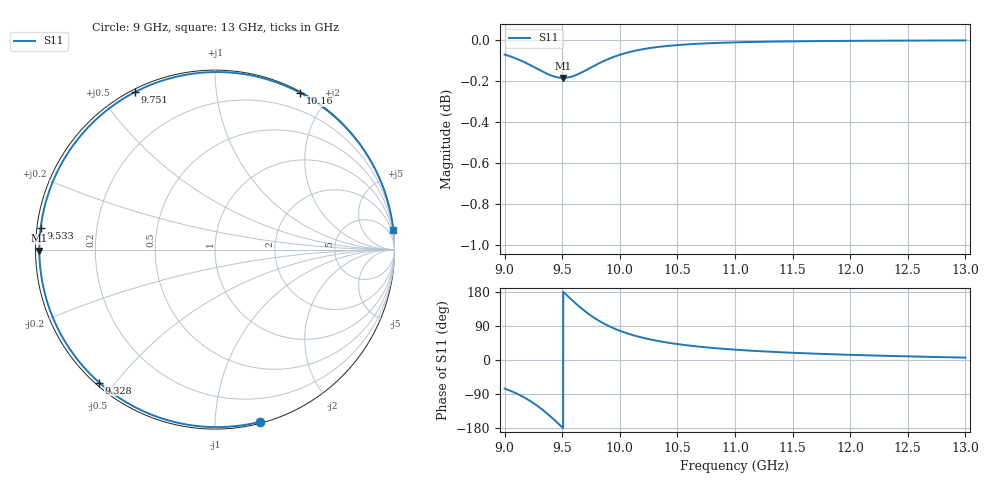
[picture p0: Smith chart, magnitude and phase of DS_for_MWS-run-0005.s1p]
! TOUCHSTONE file generated by CST DESIGN STUDIO
! Date and time: Tue Feb  4 15:48:30 2025
! Project name: C:\Work\MatlabApps\UnitCellOptimizationMatlab\CST\unitcell.cst
! Tree item: Tasks\Sweep1\SPara1\S-Parameters
! Header version: 2024
! Port assignment regex: !\s*Touchstone port\s*([0-9]+)\s*=\s*(CST MWS port|CST DES external port|CST DES block port)\s*(.+)\s* \(\"(.*)\"\)(\s*mode\s*([0-9]+))?.*
! Touchstone port assignment:
! Touchstone port 1 = CST DES external port 1 ("")
# GHz S MA R 50
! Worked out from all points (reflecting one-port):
!   4001 points, 9 GHz to 13 GHz, reference 50 ohm
!   lowest |S11| = -0.2 dB at 9.507 GHz (marker M1), VSWR 93.36, Z = 0.536 - j0.154 ohm
!   phase of S11 starts at -75 deg and turns -278 deg over the sweep
!   S11 on the Smith chart (normalised r, x): 9 GHz: 0.01, -1.30; 9.328 GHz: 0.01, -0.46; 9.533 GHz: 0.01, +0.06; 9.751 GHz: 0.01, +0.61; 10.16 GHz: 0.01, +1.68; 13 GHz: 0, +18
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9  0.9917 -75.3
9.087  0.9898 -86.1
9.189  0.9869 -102.0
9.261  0.9846 -115.9
9.328  0.9823 -131.0
9.374  0.9809 -142.5
9.422  0.9797 -155.4
9.462  0.9791 -166.7
9.5  0.9788 -177.6
9.507  0.9788 -179.6
9.533  0.9789 172.8
9.587  0.9796 157.5
9.647  0.9811 141.3
9.698  0.9827 128.7
9.751  0.9845 116.8
9.803  0.9863 106.5
9.859  0.988 96.6
10  0.9916 77.1
10.079  0.993 68.8
10.164  0.9942 61.4
10.317  0.9958 51.0
10.5  0.997 42.0
10.722  0.9978 34.2
11  0.9985 27.3
11.5  0.999 19.0
12  0.9993 13.6
12.5  0.9995 9.6
13  0.9995 6.3
